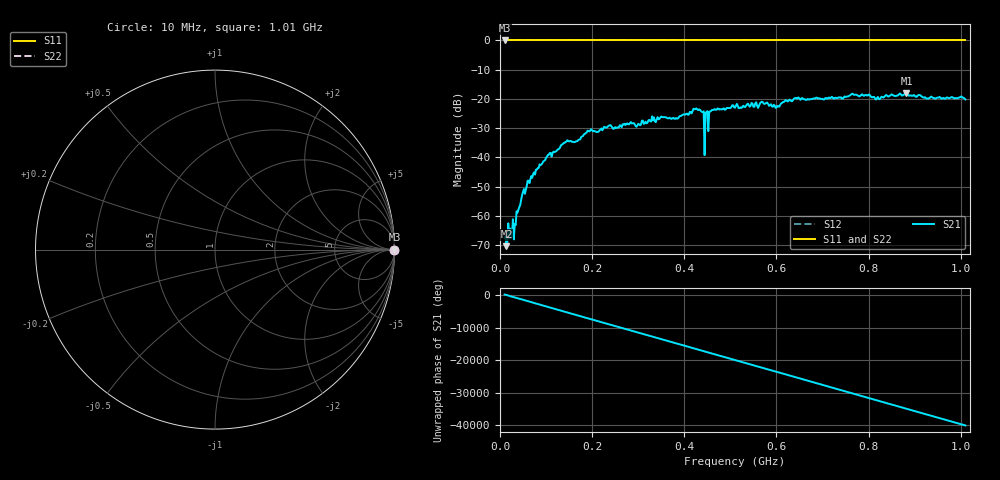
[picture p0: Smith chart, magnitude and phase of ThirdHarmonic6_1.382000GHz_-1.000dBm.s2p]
! 8/16/2025 3:42:48 PM
! C:\ANRITSUVNA\TEMP\TEMP.S2P
! CHANNEL.1
! TR.MEASUREMENT
! RAW.DATA
! RF.CORRECTION.OFF
! AVERAGING.OFF
! IF.BANDWIDTH: 5KHZ
! SWEEPTYPE:  FREQ.SWEEP(Linear)
! Reference Plane Port Info
! PORT:  PORT1  PORT2
! DISTANCE:  0  m  0  m
! TIME:  0  s  0  s
! PHASE.OFFSET:  0  deg.  0  deg.
! LOSS:  0  dB  0  dB
! REF.LOSS:  0  dB  0  dB
! REF.FREQ:  0  Hz  0  Hz
! Power Info
! POWER:  -20  dBm  -20  dBm
! EFF.POWER:  -20  dBm  -20  dBm
! SOURCE.ATTEN:  0  dB  0  dB
! TEST.ATTEN:  0  dB  0  dB
# GHZ S RI R 50.0
! FREQ.GHZ  S11RE  S11IM  S21RE  S21IM  S12RE  S12IM  S22RE  S22IM
!; PortSelection: Port_12
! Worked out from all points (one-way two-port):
!   501 points, 10 MHz to 1.01 GHz, reference 50 ohm
!   highest |S21| = -18.10 dB at 882 MHz (marker M1); lowest = -70.4 dB at 14 MHz (marker M2)
!   lowest |S11| = 0.0 dB at 10 MHz (marker M3)
!   |S11| at or under -10 dB: nowhere
!   |S22| runs from 0.0 to 0.0 dB; largest |S21 - S12| = 1.1
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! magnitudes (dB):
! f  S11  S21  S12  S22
! 10 MHz  0.0  -67.5  0.0  0.0
! 14 MHz  0.0  -70.4  0.0  0.0
! 28 MHz  0.0  -61.2  0.0  0.0
! 48 MHz  0.0  -52.9  0.0  0.0
! 82 MHz  0.0  -43.7  0.0  0.0
! 142 MHz  0.0  -34.7  0.0  0.0
! 178 MHz  0.0  -32.8  0.0  0.0
! 194 MHz  0.0  -31.1  0.0  0.0
! 344 MHz  0.0  -27.0  0.0  0.0
! 382 MHz  0.0  -26.5  0.0  0.0
! 424 MHz  0.0  -23.5  0.0  0.0
! 438 MHz  0.0  -24.4  0.0  0.0
! 440 MHz  0.0  -24.5  0.0  0.0
! 448 MHz  0.0  -24.6  0.0  0.0
! 450 MHz  0.0  -24.2  0.0  0.0
! 458 MHz  0.0  -24.1  0.0  0.0
! 510 MHz  0.0  -23.0  0.0  0.0
! 602 MHz  0.0  -22.4  0.0  0.0
! 678 MHz  0.0  -20.0  0.0  0.0
! 844 MHz  0.0  -19.2  0.0  0.0
! 882 MHz  0.0  -18.1  0.0  0.0
! 1.01 GHz  0.0  -20.2  0.0  0.0
